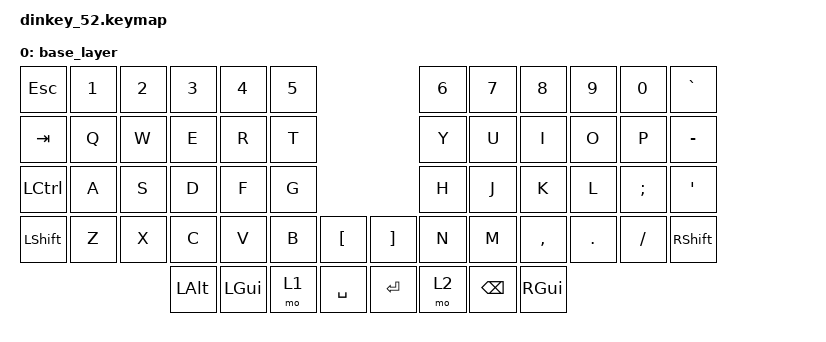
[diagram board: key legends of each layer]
/*
 * Copyright (c) 2021 The ZMK Contributors
 *
 * SPDX-License-Identifier: MIT
 *
 *Sample keymap
 */

#include <behaviors.dtsi>
#include <dt-bindings/zmk/bt.h>
#include <dt-bindings/zmk/keys.h>

/{
    keymap {
        compatible = "zmk,keymap";

        base_layer {
            bindings = <
&kp ESC   &kp N1 &kp N2 &kp N3   &kp N4   &kp N5                     &kp N6 &kp N7   &kp N8    &kp N9  &kp N0   &kp GRAVE
&kp TAB   &kp Q  &kp W  &kp E    &kp R    &kp T                      &kp Y  &kp U    &kp I     &kp O   &kp P    &kp MINUS
&kp LCTRL &kp A  &kp S  &kp D    &kp F    &kp G                      &kp H  &kp J    &kp K     &kp L   &kp SEMI &kp SQT
&kp LSHFT &kp Z  &kp X  &kp C    &kp V    &kp B  &kp LBKT   &kp RBKT &kp N  &kp M    &kp COMMA &kp DOT &kp FSLH &kp RSHFT
                        &kp LALT &kp LGUI &mo 1  &kp SPACE  &kp RET  &mo 2  &kp BSPC &kp RGUI
            >;
        };
    };
};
